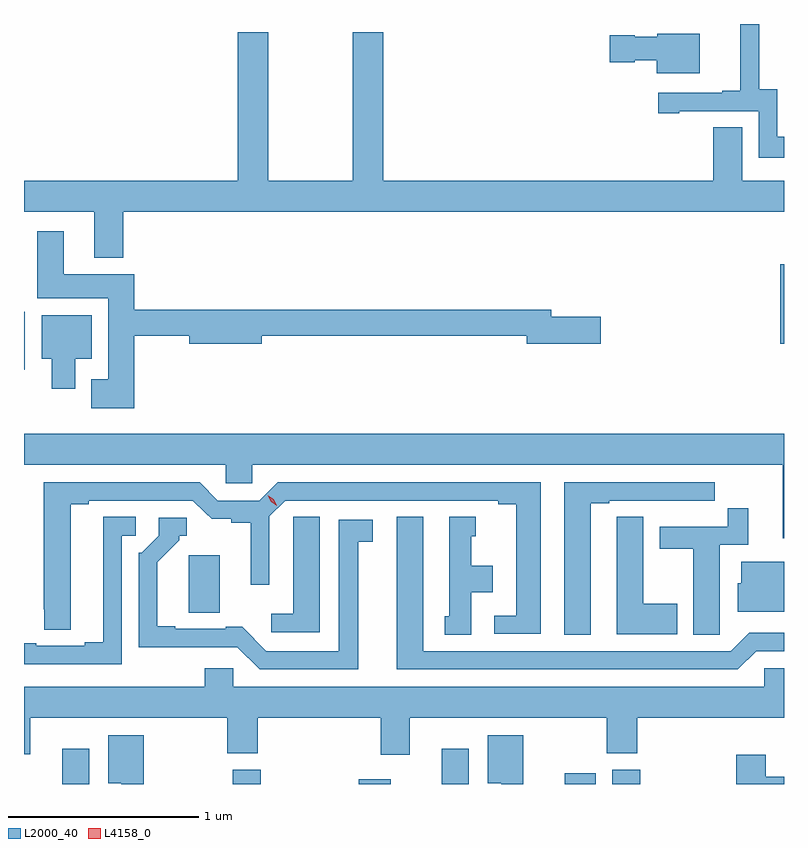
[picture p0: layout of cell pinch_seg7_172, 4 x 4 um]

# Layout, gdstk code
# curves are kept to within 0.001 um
import gdstk
lib = gdstk.Library(unit=1e-6, precision=1e-09)
def R(c, l, rs):  # rectangles x0, y0, x1, y1
    for r in rs: c.add(gdstk.rectangle(r[:2], r[2:], *l))
def P(c, l, *ps):  # polygons
    for p in ps: c.add(gdstk.Polygon(p, *l))
L2000_40 = (2000, 40)
L4158_0 = (4158, 0)

pinch_seg7_172 = lib.new_cell('pinch_seg7_172')
R(pinch_seg7_172, L2000_40, [(1103.513,1025.576,1103.656,1025.761), (1104.41,1025.576,1104.557,1025.652), (1105.073,1025.576,1105.243,1025.602), (1105.511,1025.576,1105.654,1025.761), (1106.159,1025.576,1106.32,1025.632), (1106.408,1025.576,1106.555,1025.652), (1103.312,1027.757,1103.317,1028.062), (1107.293,1027.892,1107.312,1028.311)])
P(pinch_seg7_172, L2000_40, [(1107.312,1028.982),(1107.277,1028.982),(1107.277,1029.233),(1107.183,1029.233),(1107.183,1029.576),(1107.083,1029.576),(1107.083,1029.226),(1106.987,1029.226),(1106.987,1029.213),(1106.649,1029.213),(1106.649,1029.105),(1106.761,1029.105),(1106.761,1029.117),(1107.18,1029.117),(1107.18,1028.871),(1107.312,1028.871)],
  [(1103.834,1028.588),(1107.312,1028.588),(1107.312,1028.752),(1107.091,1028.752),(1107.091,1029.032),(1106.939,1029.032),(1106.939,1028.752),(1105.202,1028.752),(1105.202,1029.532),(1105.042,1029.532),(1105.042,1028.752),(1104.597,1028.752),(1104.597,1029.532),(1104.437,1029.532),(1104.437,1028.752),(1103.312,1028.752),(1103.312,1028.588),(1103.681,1028.588),(1103.681,1028.345),(1103.834,1028.345)],
  [(1106.869,1029.526),(1106.646,1029.526),(1106.646,1029.508),(1106.526,1029.508),(1106.526,1029.516),(1106.394,1029.516),(1106.394,1029.374),(1106.526,1029.374),(1106.526,1029.386),(1106.642,1029.386),(1106.642,1029.317),(1106.869,1029.317)],
  [(1103.891,1027.936),(1104.182,1027.936),(1104.182,1027.894),(1104.562,1027.894),(1104.562,1027.936),(1105.958,1027.936),(1105.958,1027.894),(1106.347,1027.894),(1106.347,1028.036),(1106.086,1028.036),(1106.086,1028.072),(1103.891,1028.072),(1103.891,1028.26),(1103.521,1028.26),(1103.521,1028.485),(1103.381,1028.485),(1103.381,1028.132),(1103.756,1028.132),(1103.756,1027.705),(1103.666,1027.705),(1103.666,1027.553),(1103.891,1027.553)],
  [(1103.581,1027.814),(1103.668,1027.814),(1103.668,1028.044),(1103.405,1028.044),(1103.405,1027.814),(1103.459,1027.814),(1103.459,1027.656),(1103.581,1027.656)],
  [(1107.312,1027.42),(1103.312,1027.42),(1103.312,1027.256),(1104.375,1027.256),(1104.375,1027.158),(1104.513,1027.158),(1104.513,1027.256),(1107.305,1027.256),(1107.305,1026.87),(1107.312,1026.87)],
  [(1106.296,1027.053),(1106.392,1027.053),(1106.392,1027.068),(1106.668,1027.068),(1106.668,1027.067),(1106.834,1027.067),(1106.834,1027.068),(1106.947,1027.068),(1106.947,1027.164),(1106.156,1027.164),(1106.156,1026.361),(1106.296,1026.361)],
  [(1106.032,1027.164),(1104.647,1027.164),(1104.551,1027.068),(1104.333,1027.068),(1104.237,1027.164),(1103.417,1027.164),(1103.418,1026.388),(1103.557,1026.388),(1103.557,1027.048),(1103.653,1027.048),(1103.653,1027.068),(1104.201,1027.068),(1104.299,1026.971),(1104.402,1026.971),(1104.402,1026.952),(1104.506,1026.952),(1104.506,1026.624),(1104.603,1026.624),(1104.603,1026.984),(1104.687,1027.068),(1105.808,1027.068),(1105.808,1027.048),(1105.904,1027.048),(1105.904,1026.462),(1105.788,1026.462),(1105.788,1026.366),(1106.032,1026.366)],
  [(1106.973,1026.472),(1106.974,1026.472),(1106.974,1026.834),(1107.125,1026.834),(1107.125,1027.027),(1107.016,1027.027),(1107.016,1026.93),(1106.657,1026.93),(1106.657,1026.814),(1106.834,1026.814),(1106.834,1026.361),(1106.973,1026.361)],
  [(1103.826,1026.882),(1103.899,1026.882),(1103.899,1026.983),(1103.729,1026.983),(1103.729,1026.323),(1103.633,1026.323),(1103.633,1026.303),(1103.377,1026.303),(1103.377,1026.318),(1103.312,1026.318),(1103.312,1026.207),(1103.826,1026.207)],
  [(1106.749,1026.525),(1106.572,1026.525),(1106.572,1026.983),(1106.433,1026.983),(1106.433,1026.875),(1106.432,1026.875),(1106.432,1026.365),(1106.749,1026.365)],
  [(1104.868,1026.983),(1104.729,1026.983),(1104.729,1026.875),(1104.728,1026.875),(1104.728,1026.472),(1104.612,1026.472),(1104.612,1026.375),(1104.868,1026.375)],
  [(1107.165,1026.276),(1107.312,1026.276),(1107.312,1026.372),(1107.129,1026.372),(1107.033,1026.276),(1105.414,1026.276),(1105.414,1026.982),(1105.274,1026.982),(1105.274,1026.18),(1107.069,1026.18)],
  [(1105.666,1026.584),(1105.78,1026.584),(1105.78,1026.724),(1105.666,1026.724),(1105.666,1026.879),(1105.69,1026.879),(1105.69,1026.982),(1105.55,1026.982),(1105.55,1026.459),(1105.526,1026.459),(1105.526,1026.361),(1105.666,1026.361)],
  [(1105.072,1026.85),(1105.147,1026.85),(1105.147,1026.966),(1104.968,1026.966),(1104.968,1026.276),(1104.588,1026.276),(1104.46,1026.404),(1104.374,1026.404),(1104.374,1026.393),(1104.109,1026.393),(1104.109,1026.406),(1104.013,1026.406),(1104.013,1026.742),(1104.13,1026.859),(1104.13,1026.882),(1104.169,1026.882),(1104.169,1026.978),(1104.021,1026.978),(1104.021,1026.882),(1103.931,1026.792),(1103.916,1026.792),(1103.916,1026.296),(1104.435,1026.297),(1104.552,1026.18),(1105.072,1026.18)],
  [(1104.342,1026.636),(1104.343,1026.636),(1104.343,1026.781),(1104.179,1026.781),(1104.179,1026.478),(1104.342,1026.478)],
  [(1107.312,1026.745),(1107.086,1026.745),(1107.086,1026.633),(1107.068,1026.633),(1107.068,1026.482),(1107.312,1026.482)],
  [(1105.342,1025.924),(1106.38,1025.924),(1106.38,1025.737),(1106.54,1025.737),(1106.54,1025.924),(1107.312,1025.924),(1107.312,1026.186),(1107.207,1026.186),(1107.207,1026.088),(1104.414,1026.088),(1104.414,1026.186),(1104.263,1026.186),(1104.263,1026.088),(1103.312,1026.088),(1103.312,1025.732),(1103.344,1025.732),(1103.344,1025.924),(1104.382,1025.924),(1104.382,1025.737),(1104.542,1025.737),(1104.542,1025.924),(1105.19,1025.924),(1105.19,1025.73),(1105.342,1025.73)],
  [(1105.939,1025.833),(1105.754,1025.833),(1105.754,1025.579),(1105.823,1025.579),(1105.823,1025.576),(1105.939,1025.576)],
  [(1103.941,1025.833),(1103.756,1025.833),(1103.756,1025.579),(1103.825,1025.579),(1103.825,1025.576),(1103.941,1025.576)],
  [(1107.312,1025.614),(1107.217,1025.614),(1107.217,1025.731),(1107.061,1025.731),(1107.061,1025.576),(1107.312,1025.576)])
P(pinch_seg7_172, L4158_0, [(1104.642,1027.041),(1104.612,1027.062),(1104.596,1027.096),(1104.596,1027.096),(1104.596,1027.096),(1104.627,1027.075),(1104.643,1027.041),(1104.643,1027.041)])

lib.write_gds('pinch_seg7_172.gds')
